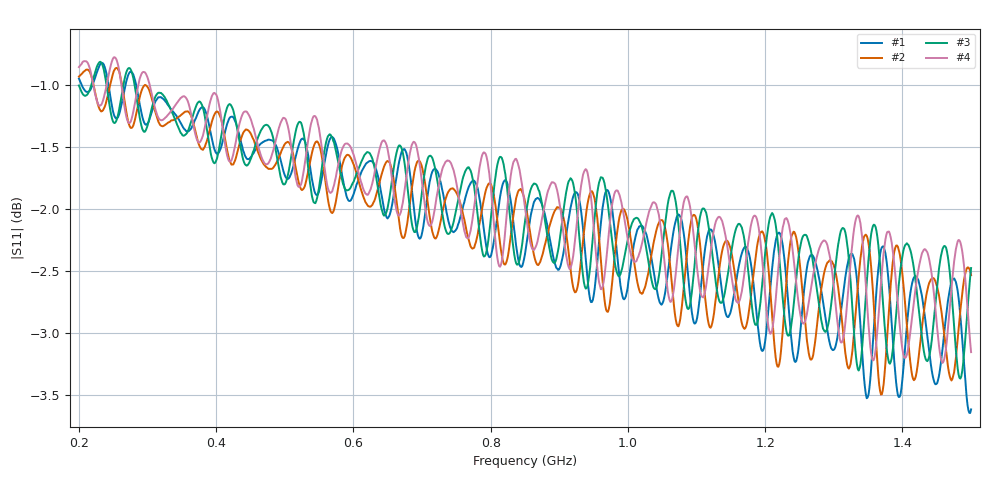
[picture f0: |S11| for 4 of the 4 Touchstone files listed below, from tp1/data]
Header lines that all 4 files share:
!Agilent N9923A: A.05.17
!Model: N9923A
!Serial: MY50371189
!Correction: S11(ON U)
!S1P File: Measurement: S11:
# Hz S RI R 50
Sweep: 200 MHz to 1.5 GHz
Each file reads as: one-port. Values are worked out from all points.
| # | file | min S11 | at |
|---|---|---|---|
| 1 | AutoSave3.s1p | -3.6 dB | 1.499 GHz |
| 2 | AutoSave4.s1p | -3.5 dB | 1.369 GHz |
| 3 | AutoSave5.s1p | -3.4 dB | 1.484 GHz |
| 4 | AutoSave6.s1p | -3.2 dB | 1.458 GHz |
